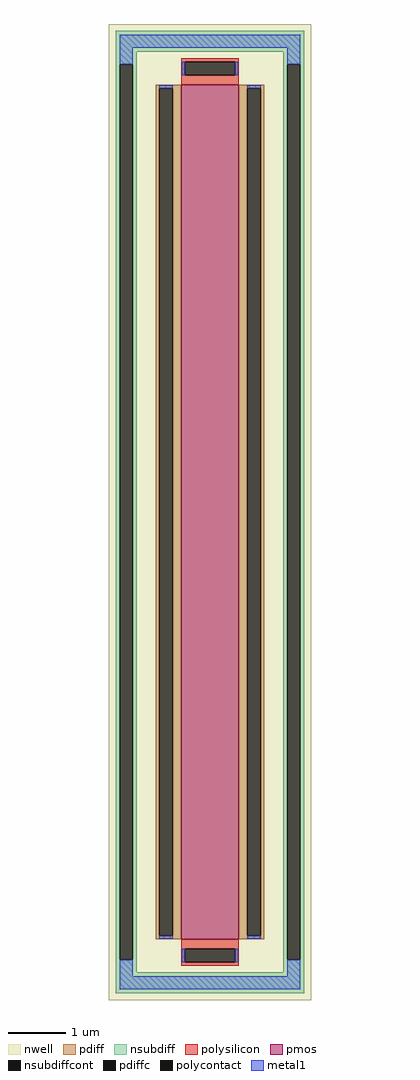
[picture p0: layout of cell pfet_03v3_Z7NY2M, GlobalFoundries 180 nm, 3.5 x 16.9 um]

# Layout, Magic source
magic
tech gf180mcuD
magscale 1 10
<< nwell >>
rect -350 -1690 350 1690
<< pmos >>
rect -100 -1480 100 1480
<< pdiff >>
rect -188 1467 -100 1480
rect -188 -1467 -175 1467
rect -129 -1467 -100 1467
rect -188 -1480 -100 -1467
rect 100 1467 188 1480
rect 100 -1467 129 1467
rect 175 -1467 188 1467
rect 100 -1480 188 -1467
<< pdiffc >>
rect -175 -1467 -129 1467
rect 129 -1467 175 1467
<< nsubdiff >>
rect -326 1594 326 1666
rect -326 1550 -254 1594
rect -326 -1550 -313 1550
rect -267 -1550 -254 1550
rect 254 1550 326 1594
rect -326 -1594 -254 -1550
rect 254 -1550 267 1550
rect 313 -1550 326 1550
rect 254 -1594 326 -1550
rect -326 -1666 326 -1594
<< nsubdiffcont >>
rect -313 -1550 -267 1550
rect 267 -1550 313 1550
<< polysilicon >>
rect -100 1559 100 1572
rect -100 1513 -87 1559
rect 87 1513 100 1559
rect -100 1480 100 1513
rect -100 -1513 100 -1480
rect -100 -1559 -87 -1513
rect 87 -1559 100 -1513
rect -100 -1572 100 -1559
<< polycontact >>
rect -87 1513 87 1559
rect -87 -1559 87 -1513
<< metal1 >>
rect -313 1607 313 1653
rect -313 1550 -267 1607
rect -98 1513 -87 1559
rect 87 1513 98 1559
rect 267 1550 313 1607
rect -175 1467 -129 1478
rect -175 -1478 -129 -1467
rect 129 1467 175 1478
rect 129 -1478 175 -1467
rect -313 -1607 -267 -1550
rect -98 -1559 -87 -1513
rect 87 -1559 98 -1513
rect 267 -1607 313 -1550
rect -313 -1653 313 -1607
<< properties >>
string FIXED_BBOX -290 -1630 290 1630
string gencell pfet_03v3
string library gf180mcu
string parameters w 14.8 l 1.0 m 1 nf 1 diffcov 100 polycov 100 guard 1 glc 1 grc 1 gtc 0 gbc 0 tbcov 100 rlcov 100 topc 1 botc 1 poverlap 0 doverlap 1 lmin 0.28 wmin 0.22 class mosfet full_metal 1 compatible {pfet_03v3 pfet_05v0 pfet_06v0} ad {int((nf+1)/2) * W/nf * 0.18u} as {int((nf+2)/2) * W/nf * 0.18u} pd {2*int((nf+1)/2) * (W/nf + 0.18u)} ps {2*int((nf+2)/2) * (W/nf + 0.18u)} nrd {0.18u / W} nrs {0.18u / W} sa 0 sb 0 sd 0
<< end >>
